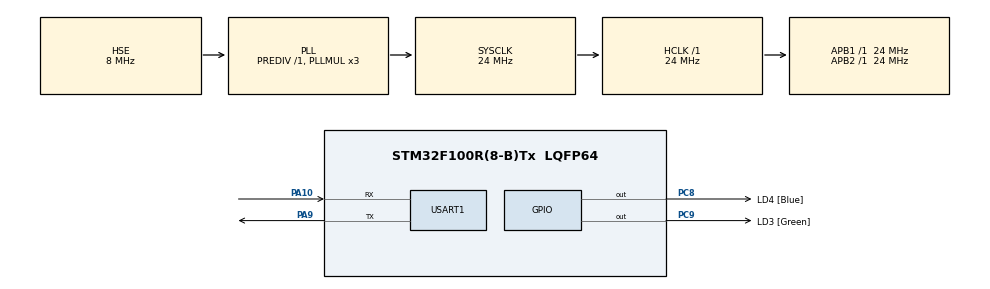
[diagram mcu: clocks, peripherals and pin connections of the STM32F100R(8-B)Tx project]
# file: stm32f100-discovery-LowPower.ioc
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Mcu.Family=STM32F1
Mcu.Name=STM32F100R(8-B)Tx
Mcu.Package=LQFP64
NVIC.PriorityGroup=NVIC_PRIORITYGROUP_4
PA0-WKUP.Mode=SYS_WakeUp0
PA0-WKUP.Signal=SYS_WKUP
PA10.Mode=Asynchronous
PA10.Signal=USART1_RX
PA13.GPIO_Label=TMS_SWDIO
PA13.Mode=Serial_Wire
PA13.Signal=SYS_JTMS-SWDIO
PA14.GPIO_Label=TCK_SWCLK
PA14.Mode=Serial_Wire
PA14.Signal=SYS_JTCK-SWCLK
PA9.Mode=Asynchronous
PA9.Signal=USART1_TX
PC14-OSC32_IN.Mode=LSE-External-Oscillator
PC14-OSC32_IN.Signal=RCC_OSC32_IN
PC15-OSC32_OUT.Mode=LSE-External-Oscillator
PC15-OSC32_OUT.Signal=RCC_OSC32_OUT
PC8.GPIO_Label=LD4 [Blue]
PC8.Signal=GPIO_Output
PC9.GPIO_Label=LD3 [Green]
PC9.Signal=GPIO_Output
PD0-OSC_IN.Mode=HSE-External-Oscillator
PD0-OSC_IN.Signal=RCC_OSC_IN
PD1-OSC_OUT.Mode=HSE-External-Oscillator
PD1-OSC_OUT.Signal=RCC_OSC_OUT
ProjectManager.HeapSize=0x200
ProjectManager.StackSize=0x400
ProjectManager.TargetToolchain=STM32CubeIDE
RCC.AHBFreq_Value=24000000
RCC.APB1Freq_Value=24000000
RCC.APB1TimFreq_Value=24000000
RCC.APB2Freq_Value=24000000
RCC.APB2TimFreq_Value=24000000
RCC.HCLKFreq_Value=24000000
RCC.PLLMUL=RCC_PLL_MUL3
RCC.PLLSource=RCC_PLLSOURCE_HSE
RCC.SYSCLKFreq_VALUE=24000000
RCC.SYSCLKSource=RCC_SYSCLKSOURCE_PLLCLK
USART1.VirtualMode=VM_ASYNC
VP_CRC_VS_CRC.Mode=CRC_Activate
board=STM32VLDISCOVERY

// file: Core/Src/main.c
/* USER CODE BEGIN Header */
/**
  ******************************************************************************
  * @file           : main.c
  * @brief          : Main program body
  ******************************************************************************
  * @attention
  *
  * Copyright (c) 2022 STMicroelectronics.
  * All rights reserved.
  *
  * This software is licensed under terms that can be found in the LICENSE file
  * in the root directory of this software component.
  * If no LICENSE file comes with this software, it is provided AS-IS.
  *
  ******************************************************************************
  */
/* USER CODE END Header */
#include "main.h"
#include "crc.h"
#include "usart.h"
#include "gpio.h"

/* USER CODE BEGIN Includes */
	#include "stdio.h"
	#include <string.h>
/* USER CODE END Includes */

void SystemClock_Config(void);

int main(void)
{

  /* MCU Configuration--------------------------------------------------------*/

  /* Reset of all peripherals, Initializes the Flash interface and the Systick. */
  HAL_Init();

  /* Configure the system clock */
  SystemClock_Config();

  /* Initialize all configured peripherals */
  MX_GPIO_Init();
  MX_CRC_Init();
  MX_USART1_UART_Init();
  /* USER CODE BEGIN 2 */

	#define BUFFER_SIZE    114
	CRC_HandleTypeDef   CrcHandle;
	__IO uint32_t uwCRCValue = 0;
	static const uint32_t aDataBuffer[BUFFER_SIZE] =
	{
	  0x00001021, 0x20423063, 0x408450a5, 0x60c670e7, 0x9129a14a, 0xb16bc18c,
	  0xd1ade1ce, 0xf1ef1231, 0x32732252, 0x52b54294, 0x72f762d6, 0x93398318,
	  0xa35ad3bd, 0xc39cf3ff, 0xe3de2462, 0x34430420, 0x64e674c7, 0x44a45485,
	  0xa56ab54b, 0x85289509, 0xf5cfc5ac, 0xd58d3653, 0x26721611, 0x063076d7,
	  0x569546b4, 0xb75ba77a, 0x97198738, 0xf7dfe7fe, 0xc7bc48c4, 0x58e56886,
	  0x78a70840, 0x18612802, 0xc9ccd9ed, 0xe98ef9af, 0x89489969, 0xa90ab92b,
	  0x4ad47ab7, 0x6a961a71, 0x0a503a33, 0x2a12dbfd, 0xfbbfeb9e, 0x9b798b58,
	  0xbb3bab1a, 0x6ca67c87, 0x5cc52c22, 0x3c030c60, 0x1c41edae, 0xfd8fcdec,
	  0xad2abd0b, 0x8d689d49, 0x7e976eb6, 0x5ed54ef4, 0x2e321e51, 0x0e70ff9f,
	  0xefbedfdd, 0xcffcbf1b, 0x9f598f78, 0x918881a9, 0xb1caa1eb, 0xd10cc12d,
	  0xe16f1080, 0x00a130c2, 0x20e35004, 0x40257046, 0x83b99398, 0xa3fbb3da,
	  0xc33dd31c, 0xe37ff35e, 0x129022f3, 0x32d24235, 0x52146277, 0x7256b5ea,
	  0x95a88589, 0xf56ee54f, 0xd52cc50d, 0x34e224c3, 0x04817466, 0x64475424,
	  0x4405a7db, 0xb7fa8799, 0xe75ff77e, 0xc71dd73c, 0x26d336f2, 0x069116b0,
	  0x76764615, 0x5634d94c, 0xc96df90e, 0xe92f99c8, 0xb98aa9ab, 0x58444865,
	  0x78066827, 0x18c008e1, 0x28a3cb7d, 0xdb5ceb3f, 0xfb1e8bf9, 0x9bd8abbb,
	  0x4a755a54, 0x6a377a16, 0x0af11ad0, 0x2ab33a92, 0xed0fdd6c, 0xcd4dbdaa,
	  0xad8b9de8, 0x8dc97c26, 0x5c644c45, 0x3ca22c83, 0x1ce00cc1, 0xef1fff3e,
	  0xdf7caf9b, 0xbfba8fd9, 0x9ff86e17, 0x7e364e55, 0x2e933eb2, 0x0ed11ef0
	};
	uint32_t uwExpectedCRCValue = 0x379E9F06;		/* Expected CRC Value */
	CrcHandle.Instance = CRC;	  /*##-1- Configure the CRC peripheral */

	char DataChar[100];
	sprintf(DataChar,"\r\n STM32 VL-Discovery\r\n" );
	HAL_UART_Transmit( &huart1, (uint8_t *)DataChar , strlen(DataChar) , 100 ) ;

	#define DATE_as_int_str 	(__DATE__)
	#define TIME_as_int_str 	(__TIME__)
	sprintf(DataChar,"\r\n\tBuild: %s. Time: %s." , DATE_as_int_str , TIME_as_int_str ) ;
	HAL_UART_Transmit( &huart1, (uint8_t *)DataChar , strlen(DataChar) , 100 ) ;

	sprintf(DataChar,"\r\n\tFor debug: UART1-115200/8-N-1\r\n" ) ;
	HAL_UART_Transmit( &huart1, (uint8_t *)DataChar , strlen(DataChar) , 100 ) ;
  /* USER CODE END 2 */

  /* Infinite loop */
  /* USER CODE BEGIN WHILE */
  while (1)
  {
	HAL_GPIO_WritePin(LD3_GPIO_Port, LD3_Pin, SET);
	HAL_Delay(3000);
	HAL_GPIO_WritePin(LD3_GPIO_Port, LD3_Pin, RESET);
	HAL_Delay(300);

//	HAL_PWR_DisableWakeUpPin(PWR_WAKEUP_PIN1);	/* Disable all used wakeup sources: PWR_WAKEUP_PIN1 */
//	__HAL_PWR_CLEAR_FLAG(PWR_FLAG_WU);	/* Clear all related wakeup flags*/
//	HAL_PWR_EnableWakeUpPin(PWR_WAKEUP_PIN1);	/* Enable WakeUp Pin PWR_WAKEUP_PIN1 connected to PA.00 */
//	HAL_PWR_EnterSTANDBYMode();	/* Enter the Standby mode */

//	  uwCRCValue = HAL_CRC_Accumulate(&CrcHandle, (uint32_t *)aDataBuffer, BUFFER_SIZE);
	  uwCRCValue = HAL_CRC_Calculate(&CrcHandle, (uint32_t *)aDataBuffer, BUFFER_SIZE);

	  if (uwCRCValue != uwExpectedCRCValue) {
	    sprintf(DataChar,"CRC: Wrong.\r\n" );
		HAL_UART_Transmit( &huart1, (uint8_t *)DataChar , strlen(DataChar) , 100 ) ;
	  } else {
		sprintf(DataChar,"CRC: Right.\r\n" );
		HAL_UART_Transmit( &huart1, (uint8_t *)DataChar , strlen(DataChar) , 100 ) ;
	  }

    /* USER CODE END WHILE */

  }
}

void SystemClock_Config(void)
{
  RCC_OscInitTypeDef RCC_OscInitStruct = {0};
  RCC_ClkInitTypeDef RCC_ClkInitStruct = {0};

  /** Initializes the RCC Oscillators according to the specified parameters
  * in the RCC_OscInitTypeDef structure.
  */
  RCC_OscInitStruct.OscillatorType = RCC_OSCILLATORTYPE_HSE;
  RCC_OscInitStruct.HSEState = RCC_HSE_ON;
  RCC_OscInitStruct.HSEPredivValue = RCC_HSE_PREDIV_DIV1;
  RCC_OscInitStruct.PLL.PLLState = RCC_PLL_ON;
  RCC_OscInitStruct.PLL.PLLSource = RCC_PLLSOURCE_HSE;
  RCC_OscInitStruct.PLL.PLLMUL = RCC_PLL_MUL3;
  if (HAL_RCC_OscConfig(&RCC_OscInitStruct) != HAL_OK)
  {
    Error_Handler();
  }

  /** Initializes the CPU, AHB and APB buses clocks
  */
  RCC_ClkInitStruct.ClockType = RCC_CLOCKTYPE_HCLK|RCC_CLOCKTYPE_SYSCLK
                              |RCC_CLOCKTYPE_PCLK1|RCC_CLOCKTYPE_PCLK2;
  RCC_ClkInitStruct.SYSCLKSource = RCC_SYSCLKSOURCE_PLLCLK;
  RCC_ClkInitStruct.AHBCLKDivider = RCC_SYSCLK_DIV1;
  RCC_ClkInitStruct.APB1CLKDivider = RCC_HCLK_DIV1;
  RCC_ClkInitStruct.APB2CLKDivider = RCC_HCLK_DIV1;

  if (HAL_RCC_ClockConfig(&RCC_ClkInitStruct, FLASH_LATENCY_0) != HAL_OK)
  {
    Error_Handler();
  }
}

void Error_Handler(void)
{
  __disable_irq();
  while (1)
  {
  }
}
